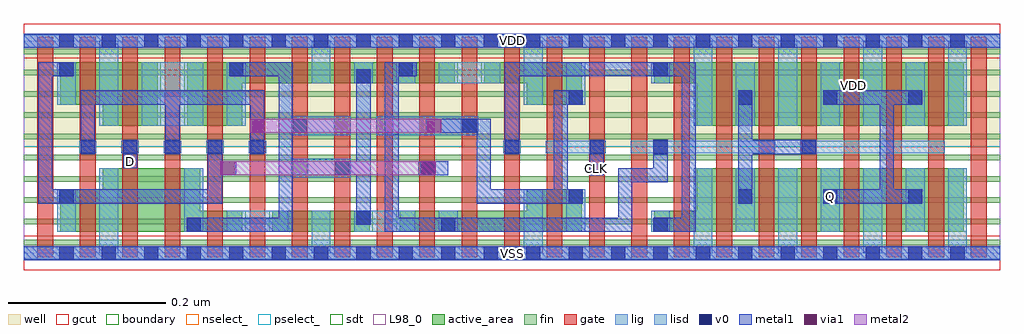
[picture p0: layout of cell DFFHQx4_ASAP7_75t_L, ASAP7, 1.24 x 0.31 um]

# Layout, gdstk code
import gdstk
lib = gdstk.Library(unit=1e-6, precision=2.5e-10)
def R(c, l, rs):  # rectangles x0, y0, x1, y1
    for r in rs: c.add(gdstk.rectangle(r[:2], r[2:], *l))
def A(c, l, x, y, w, h, nx, ny, dx, dy):  # array of equal rectangles
    R(c, l, [(x+i*dx, y+j*dy, x+i*dx+w, y+j*dy+h) for i in range(nx) for j in range(ny)])
def P(c, l, *ps):  # polygons
    for p in ps: c.add(gdstk.Polygon(p, *l))
well = (1, 0)
fin = (2, 0)
gate = (7, 0)
gcut = (10, 0)
active_area = (11, 0)
nselect_ = (12, 0)
pselect_ = (13, 0)
lig = (16, 0)
lisd = (17, 0)
v0 = (18, 0)
metal1 = (19, 0)
metal2 = (20, 0)
via1 = (21, 0)
sdt = (88, 0)
L98_0 = (98, 0)
boundary = (100, 0)

dffhqx4_asap7_75t_l = lib.new_cell('DFFHQx4_ASAP7_75t_L')
R(dffhqx4_asap7_75t_l, well, [(0,0.135,1.242,0.27)])
A(dffhqx4_asap7_75t_l, fin, 0, 0.01, 1.242, 0.007, 1, 10, 0, 0.027)
A(dffhqx4_asap7_75t_l, gate, 0.017, -0.005, 0.02, 0.28, 23, 1, 0.054, 0)
R(dffhqx4_asap7_75t_l, gcut, [(0,-0.022,1.242,0.022), (0,0.248,1.242,0.292)])
R(dffhqx4_asap7_75t_l, active_area, [(0.316,0.027,0.44,0.054)])
P(dffhqx4_asap7_75t_l, active_area, [(0.478,0.027),(0.478,0.054),(0.64,0.054),(0.64,0.081),(0.71,0.081),(0.71,0.027)],
  [(0.802,0.027),(0.802,0.054),(0.856,0.054),(0.856,0.108),(1.196,0.108),(1.196,0.027)],
  [(0.046,0.027),(0.046,0.081),(0.1,0.081),(0.1,0.108),(0.224,0.108),(0.224,0.054),(0.278,0.054),(0.278,0.027)],
  [(0.856,0.162),(0.856,0.216),(0.802,0.216),(0.802,0.243),(1.196,0.243),(1.196,0.162)],
  [(0.64,0.189),(0.64,0.216),(0.586,0.216),(0.586,0.243),(0.71,0.243),(0.71,0.189)],
  [(0.208,0.162),(0.208,0.243),(0.548,0.243),(0.548,0.216),(0.278,0.216),(0.278,0.162)],
  [(0.1,0.162),(0.1,0.189),(0.046,0.189),(0.046,0.243),(0.17,0.243),(0.17,0.162)])
R(dffhqx4_asap7_75t_l, nselect_, [(0,0,1.242,0.135)])
R(dffhqx4_asap7_75t_l, pselect_, [(0,0.135,1.242,0.27)])
A(dffhqx4_asap7_75t_l, lig, 0.07, 0.127, 0.022, 0.016, 5, 1, 0.054, 0)
R(dffhqx4_asap7_75t_l, lig, [(0,-0.008,1.242,0.008), (0.34,0.1,0.362,0.116), (0.502,0.1,0.524,0.116), (0.61,0.127,0.632,0.143), (0.664,0.127,0.74,0.143), (0.772,0.127,0.956,0.143), (0.988,0.127,1.172,0.143), (0.394,0.154,0.416,0.17), (0.448,0.154,0.47,0.17), (0.556,0.154,0.578,0.17), (0,0.262,1.242,0.278)])
A(dffhqx4_asap7_75t_l, lisd, 0.852, 0, 0.024, 0.108, 4, 2, 0.108, 0.162)
A(dffhqx4_asap7_75t_l, lisd, 0.906, 0.027, 0.024, 0.081, 3, 2, 0.108, 0.135)
R(dffhqx4_asap7_75t_l, lisd, [(0.096,0,0.12,0.108), (0.366,0,0.39,0.054), (0.636,0,0.66,0.081), (0.042,0.027,0.066,0.081), (0.204,0.027,0.228,0.108), (0.258,0.027,0.336,0.054), (0.42,0.027,0.498,0.054), (0.528,0.027,0.552,0.054), (0.69,0.027,0.714,0.081), (0.798,0.027,0.822,0.054), (0.34,0.096,0.416,0.12), (0.34,0.15,0.416,0.174), (0.448,0.15,0.578,0.174), (0.096,0.162,0.12,0.27), (0.15,0.162,0.228,0.243), (0.258,0.162,0.282,0.243), (0.042,0.189,0.066,0.243), (0.636,0.189,0.66,0.27), (0.69,0.189,0.714,0.243), (0.366,0.216,0.39,0.27), (0.42,0.216,0.444,0.243), (0.474,0.216,0.498,0.243), (0.528,0.216,0.606,0.243), (0.798,0.216,0.822,0.243)])
A(dffhqx4_asap7_75t_l, v0, 0.045, -0.009, 0.018, 0.018, 22, 2, 0.054, 0.27)
A(dffhqx4_asap7_75t_l, v0, 0.801, 0.027, 0.018, 0.018, 1, 3, 0, 0.099)
A(dffhqx4_asap7_75t_l, v0, 0.909, 0.063, 0.018, 0.018, 3, 2, 0.108, 0.126)
A(dffhqx4_asap7_75t_l, v0, 0.072, 0.126, 0.018, 0.018, 5, 1, 0.054, 0)
A(dffhqx4_asap7_75t_l, v0, 0.045, 0.225, 0.018, 0.018, 3, 1, 0.216, 0)
R(dffhqx4_asap7_75t_l, v0, [(0.207,0.027,0.225,0.045), (0.531,0.027,0.549,0.045), (0.423,0.036,0.441,0.054), (0.045,0.063,0.063,0.081), (0.693,0.063,0.711,0.081), (0.396,0.099,0.414,0.117), (0.504,0.099,0.522,0.117), (0.612,0.126,0.63,0.144), (0.72,0.126,0.738,0.144), (0.99,0.126,1.008,0.144), (0.342,0.153,0.36,0.171), (0.558,0.153,0.576,0.171), (0.693,0.189,0.711,0.207), (0.423,0.216,0.441,0.234)])
R(dffhqx4_asap7_75t_l, metal1, [(0,-0.009,1.242,0.009), (0.504,0.099,0.54,0.117), (0.72,0.099,0.738,0.144), (0.126,0.108,0.144,0.144), (0,0.261,1.242,0.279)])
P(dffhqx4_asap7_75t_l, metal1, [(1.017,0.063),(1.017,0.081),(1.089,0.081),(1.089,0.189),(1.017,0.189),(1.017,0.207),(1.143,0.207),(1.143,0.189),(1.107,0.189),(1.107,0.081),(1.143,0.081),(1.143,0.063)],
  [(0.909,0.063),(0.909,0.207),(0.927,0.207),(0.927,0.144),(1.008,0.144),(1.008,0.126),(0.927,0.126),(0.927,0.063)],
  [(0.207,0.027),(0.207,0.045),(0.324,0.045),(0.324,0.225),(0.261,0.225),(0.261,0.243),(0.342,0.243),(0.342,0.171),(0.36,0.171),(0.36,0.153),(0.342,0.153),(0.342,0.027)],
  [(0.459,0.027),(0.459,0.243),(0.5,0.243),(0.5,0.225),(0.477,0.225),(0.477,0.045),(0.756,0.045),(0.756,0.108),(0.801,0.108),(0.801,0.144),(0.819,0.144),(0.819,0.09),(0.774,0.09),(0.774,0.027)],
  [(0.423,0.036),(0.423,0.099),(0.396,0.099),(0.396,0.117),(0.423,0.117),(0.423,0.234),(0.441,0.234),(0.441,0.036)],
  [(0.576,0.063),(0.576,0.153),(0.511,0.153),(0.511,0.171),(0.594,0.171),(0.594,0.081),(0.674,0.081),(0.674,0.207),(0.711,0.207),(0.711,0.189),(0.692,0.189),(0.692,0.081),(0.711,0.081),(0.711,0.063)],
  [(0.801,0.027),(0.801,0.045),(0.837,0.045),(0.837,0.225),(0.63,0.225),(0.63,0.126),(0.612,0.126),(0.612,0.243),(0.855,0.243),(0.855,0.027)],
  [(0.072,0.126),(0.072,0.207),(0.306,0.207),(0.306,0.126),(0.288,0.126),(0.288,0.189),(0.198,0.189),(0.198,0.126),(0.18,0.126),(0.18,0.189),(0.09,0.189),(0.09,0.126)],
  [(0.018,0.063),(0.018,0.243),(0.063,0.243),(0.063,0.225),(0.036,0.225),(0.036,0.081),(0.234,0.081),(0.234,0.144),(0.252,0.144),(0.252,0.117),(0.27,0.117),(0.27,0.099),(0.252,0.099),(0.252,0.063)])
R(dffhqx4_asap7_75t_l, metal2, [(0.25,0.099,0.524,0.117), (0.288,0.153,0.531,0.171)])
R(dffhqx4_asap7_75t_l, via1, [(0.25,0.099,0.268,0.117), (0.506,0.099,0.524,0.117), (0.288,0.153,0.306,0.171), (0.513,0.153,0.531,0.171)])
A(dffhqx4_asap7_75t_l, sdt, 0.258, 0.027, 0.024, 0.027, 6, 1, 0.054, 0)
A(dffhqx4_asap7_75t_l, sdt, 0.852, 0.027, 0.024, 0.081, 7, 2, 0.054, 0.135)
A(dffhqx4_asap7_75t_l, sdt, 0.096, 0.162, 0.024, 0.081, 4, 1, 0.054, 0)
A(dffhqx4_asap7_75t_l, sdt, 0.366, 0.216, 0.024, 0.027, 5, 1, 0.054, 0)
R(dffhqx4_asap7_75t_l, sdt, [(0.042,0.027,0.066,0.081), (0.096,0.027,0.12,0.108), (0.204,0.027,0.228,0.108), (0.636,0.027,0.66,0.081), (0.69,0.027,0.714,0.081), (0.798,0.027,0.822,0.054), (0.042,0.189,0.066,0.243), (0.636,0.189,0.66,0.243), (0.69,0.189,0.714,0.243), (0.798,0.216,0.822,0.243)])
R(dffhqx4_asap7_75t_l, L98_0, [(0,0,1.242,0.27)])
R(dffhqx4_asap7_75t_l, boundary, [(0,0,1.242,0.27)])
dffhqx4_asap7_75t_l.add(gdstk.Label('CLK', (0.729,0.108), layer=19, texttype=251))
dffhqx4_asap7_75t_l.add(gdstk.Label('D', (0.135,0.117), layer=19, texttype=251))
dffhqx4_asap7_75t_l.add(gdstk.Label('Q', (1.026,0.072), layer=19, texttype=251))
dffhqx4_asap7_75t_l.add(gdstk.Label('VSS', (0.621,0), layer=19, texttype=251))
dffhqx4_asap7_75t_l.add(gdstk.Label('VDD', (0.621,0.27), layer=19, texttype=251))
dffhqx4_asap7_75t_l.add(gdstk.Label('VDD', (1.056,0.213), layer=1, texttype=251))
dffhqx4_asap7_75t_l.add(gdstk.Label('VSS', (1.428,0.213), layer=3, texttype=251))

lib.write_gds('DFFHQx4_ASAP7_75t_L.gds')
